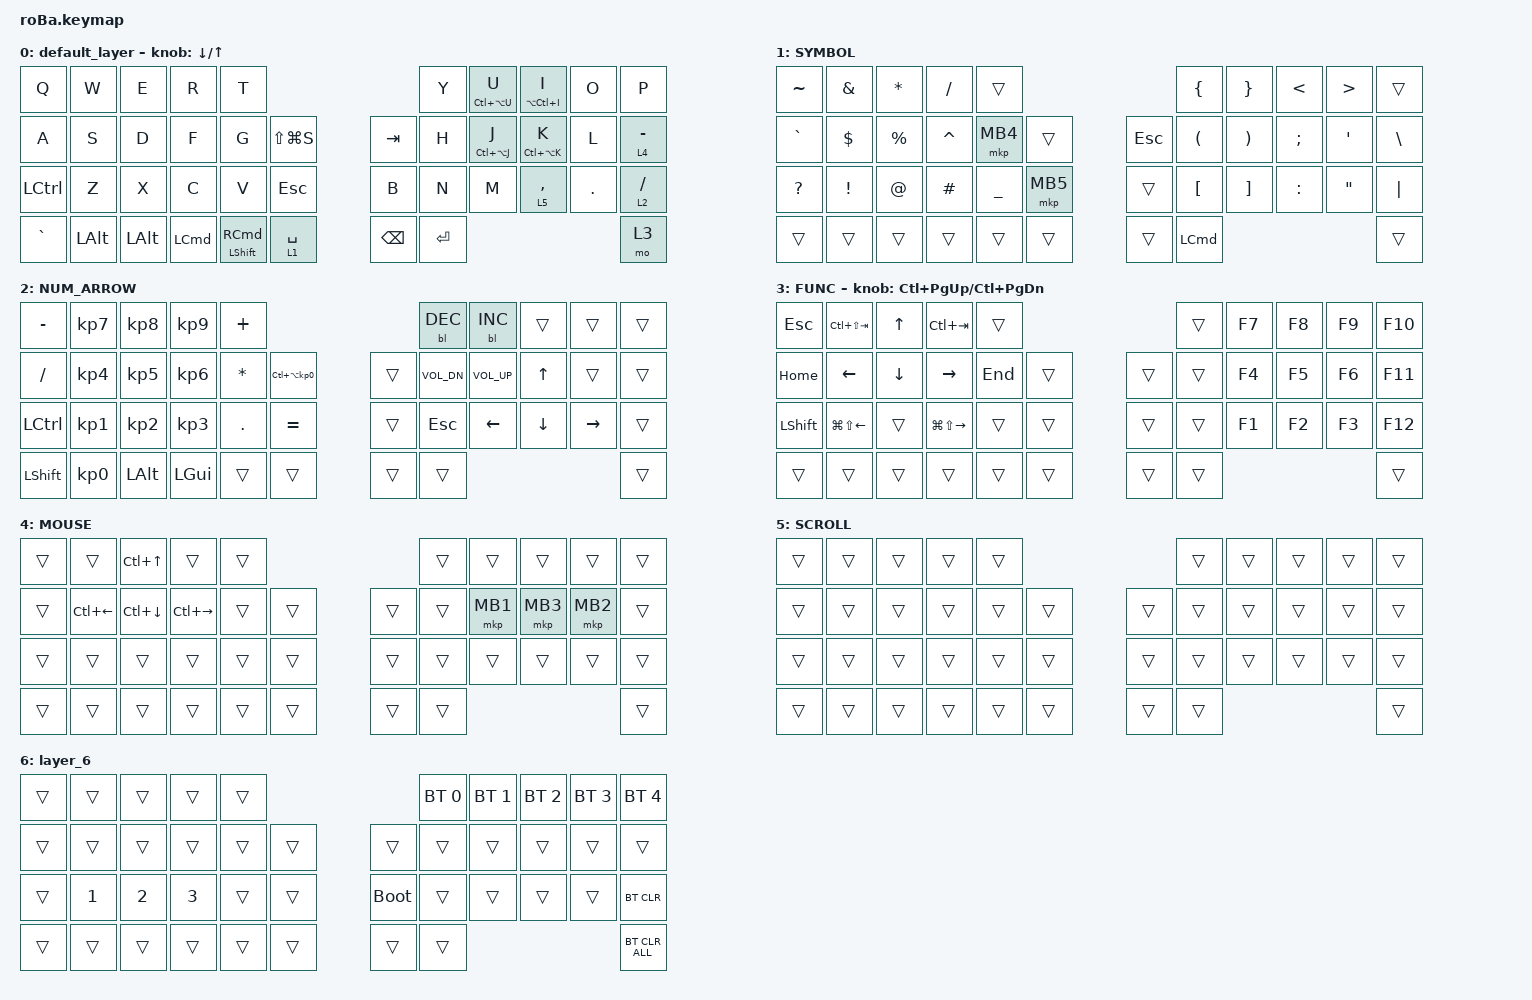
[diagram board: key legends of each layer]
#include <behaviors.dtsi>
#include <dt-bindings/zmk/backlight.h>
#include <dt-bindings/zmk/bt.h>
#include <dt-bindings/zmk/keys.h>
#include <dt-bindings/zmk/pointing.h>

&mt {
    flavor = "balanced";
    quick-tap-ms = <0>;
};

&trackball {
    automouse-layer = <4>;
    scroll-layers = <5>;

    // arrows {
    //     layers = <3>;
    //     bindings =
    //         <&kp RIGHT_ARROW>,
    //         <&kp LEFT_ARROW>,
    //         <&kp UP_ARROW>,
    //         <&kp DOWN_ARROW>;
    //     tick = <10>;
    //     wait-ms = <5>;
    //     tap-ms = <5>;
    // };
};

/ {
    combos {
        compatible = "zmk,combos";

        left {
            bindings = <&kp LC(LA(LEFT_ARROW))>;
            key-positions = <11 12>;
        };

        right {
            bindings = <&kp LA(LC(RIGHT_ARROW))>;
            key-positions = <12 13>;
        };

        all {
            bindings = <&kp LC(LA(ENTER))>;
            key-positions = <11 12 13>;
        };

        CAMPS {
            bindings = <&kp CAPSLOCK>;
            key-positions = <22 34>;
        };
    };

    macros {
        to_layer_0: to_layer_0 {
            compatible = "zmk,behavior-macro-one-param";
            #binding-cells = <1>;
            bindings = <&to 0 &macro_param_1to1 &kp MACRO_PLACEHOLDER>;
            label = "TO_LAYER_0";
        };
    };

    behaviors {
        lt_to_layer_0: lt_to_layer_0 {
            compatible = "zmk,behavior-hold-tap";
            label = "LAYER_TAP_TO_0";
            bindings = <&mo>, <&to_layer_0>;

            #binding-cells = <2>;
            tapping-term-ms = <200>;
        };
    };

    keymap {
        compatible = "zmk,keymap";

        default_layer {
            bindings = <
&kp Q      &kp W         &kp E     &kp R     &kp T                                                      &kp Y      &mt LC(LA(U)) U  &mt LA(LC(I)) I         &kp O    &kp P
&kp A      &kp S         &kp D     &kp F     &kp G           &kp LS(LG(S))               &kp TAB        &kp H      &mt LC(LA(J)) J  &mt LC(LA(K)) K         &kp L    &lt_to_layer_0 4 MINUS
&kp LCTRL  &kp Z         &kp X     &kp C     &kp V           &kp ESCAPE                  &kp B          &kp N      &kp M            &lt_to_layer_0 5 COMMA  &kp DOT  &lt_to_layer_0 2 SLASH
&kp GRAVE  &kp LEFT_ALT  &kp LALT  &kp LCMD  &mt LSHFT RCMD  &lt_to_layer_0 1 SPACE      &kp BACKSPACE  &kp ENTER                                                    &mo 3
            >;

            sensor-bindings = <&inc_dec_kp DOWN_ARROW UP_ARROW>;
        };

        SYMBOL {
            bindings = <
&kp TILDE     &kp AMPERSAND    &kp ASTERISK  &kp SLASH  &trans                                    &kp LEFT_BRACE        &kp RIGHT_BRACE        &kp LESS_THAN  &kp GREATER_THAN   &trans
&kp GRAVE     &kp DOLLAR       &kp PERCENT   &kp CARET  &mkp MB4        &trans        &kp ESCAPE  &kp LEFT_PARENTHESIS  &kp RIGHT_PARENTHESIS  &kp SEMICOLON  &kp SQT            &kp BACKSLASH
&kp QUESTION  &kp EXCLAMATION  &kp AT_SIGN   &kp HASH   &kp UNDERSCORE  &mkp MB5      &trans      &kp LBKT              &kp RBKT               &kp COLON      &kp DOUBLE_QUOTES  &kp PIPE
&trans        &trans           &trans        &trans     &trans          &trans        &trans      &kp LCMD                                                                       &trans
            >;
        };

        NUM_ARROW {
            bindings = <
&kp MINUS  &kp KP_NUMBER_7  &kp KP_NUMBER_8  &kp KP_NUMBER_9  &kp PLUS                                           &bl BL_DEC    &bl BL_INC      &trans          &trans           &trans
&kp SLASH  &kp KP_NUMBER_4  &kp KP_NUMBER_5  &kp KP_NUMBER_6  &kp ASTERISK  &kp LC(LA(KP_NUMBER_0))      &trans  &kp C_VOL_DN  &kp C_VOL_UP    &kp UP_ARROW    &trans           &trans
&kp LCTRL  &kp KP_NUMBER_1  &kp KP_NUMBER_2  &kp KP_NUMBER_3  &kp PERIOD    &kp EQUAL                    &trans  &kp ESCAPE    &kp LEFT_ARROW  &kp DOWN_ARROW  &kp RIGHT_ARROW  &trans
&kp LSHFT  &kp KP_N0        &kp LALT         &kp LGUI         &trans        &trans                       &trans  &trans                                                         &trans
            >;
        };

        FUNC {
            bindings = <
&kp ESCAPE      &kp LC(LS(TAB))         &kp UP_ARROW    &kp LC(TAB)              &trans                       &trans  &kp F7  &kp F8  &kp F9  &kp F10
&kp HOME        &kp LEFT_ARROW          &kp DOWN_ARROW  &kp RIGHT_ARROW          &kp END  &trans      &trans  &trans  &kp F4  &kp F5  &kp F6  &kp F11
&kp LEFT_SHIFT  &kp LG(LS(LEFT_ARROW))  &trans          &kp LG(LS(RIGHT_ARROW))  &trans   &trans      &trans  &trans  &kp F1  &kp F2  &kp F3  &kp F12
&trans          &trans                  &trans          &trans                   &trans   &trans      &trans  &trans                          &trans
            >;

            sensor-bindings = <&inc_dec_kp LC(PAGE_UP) LC(PAGE_DOWN)>;
        };

        MOUSE {
            bindings = <
&trans  &trans              &kp LC(UP_ARROW)    &trans         &trans                      &trans  &trans    &trans    &trans    &trans
&trans  &kp LC(LEFT_ARROW)  &kp LC(DOWN_ARROW)  &kp LC(RIGHT)  &trans  &trans      &trans  &trans  &mkp MB1  &mkp MB3  &mkp MB2  &trans
&trans  &trans              &trans              &trans         &trans  &trans      &trans  &trans  &trans    &trans    &trans    &trans
&trans  &trans              &trans              &trans         &trans  &trans      &trans  &trans                                &trans
            >;
        };

        SCROLL {
            bindings = <
&trans  &trans  &trans  &trans  &trans                      &trans  &trans  &trans  &trans  &trans
&trans  &trans  &trans  &trans  &trans  &trans      &trans  &trans  &trans  &trans  &trans  &trans
&trans  &trans  &trans  &trans  &trans  &trans      &trans  &trans  &trans  &trans  &trans  &trans
&trans  &trans  &trans  &trans  &trans  &trans      &trans  &trans                          &trans
            >;
        };

        layer_6 {
            bindings = <
&trans  &trans        &trans        &trans        &trans                           &bt BT_SEL 0  &bt BT_SEL 1  &bt BT_SEL 2  &bt BT_SEL 3  &bt BT_SEL 4
&trans  &trans        &trans        &trans        &trans  &trans      &trans       &trans        &trans        &trans        &trans        &trans
&trans  &kp NUMBER_1  &kp NUMBER_2  &kp NUMBER_3  &trans  &trans      &bootloader  &trans        &trans        &trans        &trans        &bt BT_CLR
&trans  &trans        &trans        &trans        &trans  &trans      &trans       &trans                                                  &bt BT_CLR_ALL
            >;
        };
    };
};
